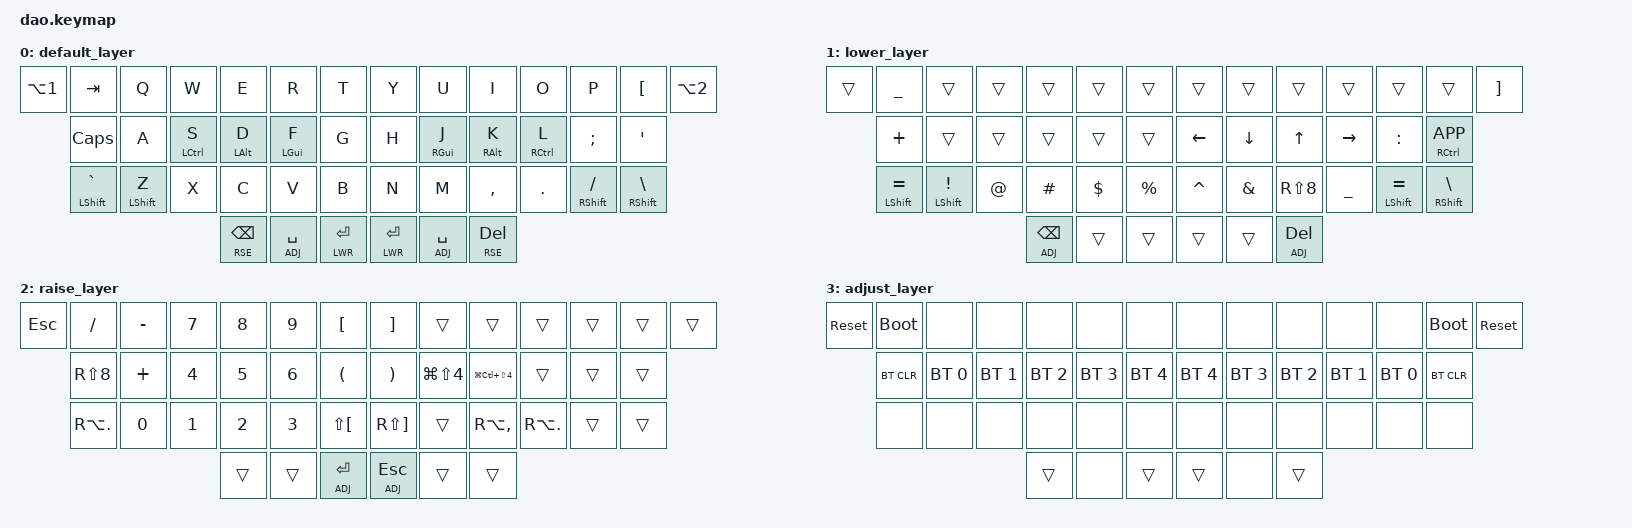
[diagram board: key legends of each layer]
/*
 * Copyright (c) 2021 Rafael Yumagulov
 *
 * SPDX-License-Identifier: MIT
 */

#include <behaviors.dtsi>
#include <dt-bindings/zmk/keys.h>
#include <dt-bindings/zmk/bt.h>

#define DEF 0
#define LWR 1
#define RSE 2
#define ADJ 3

&lt { quick_tap_ms = <200>; };

/ {
        behaviors {
                bhm: balanced_homerow_mods {
                        compatible = "zmk,behavior-hold-tap";
                        label = "HOMEROW_MODS";
                        #binding-cells = <2>;
                        tapping-term-ms = <200>;    // <---[[moderate duration]]
                        quick-tap-ms = <0>;
                        flavor = "balanced";
                        bindings = <&kp>, <&kp>;
                };
        };
        keymap {
                compatible = "zmk,keymap";

                default_layer {
 /*
| ------- | -------         | ----------  | ---------- | ----        | --------      | ---------- | ---------- | ---        | --------      | ---------- | ---------- | ---------      | -------       | ----    |
| ------- | --------------- | ----------- | ---------- | ----------- | ------------- | ---------- | ---------- | ---------- | ------------- | ---------- | ---------- | -------------- | ------------- | ------- |
| kp ESC  | kp TAB          | kp Q        | kp W       | kp E        | kp R          | kp T       | ---------- | kp Y       | kp U          | kp I       | kp O       | kp P           | kp LBKT       | kp RBKT |
|         | kp CAPS         | kp A        | mt LCTRL S | mt LALT D   | mt LGUI F     | kp G       | ---------- | kp H       | mt RGUI J     | mt RALT  K | mt RCTRL L | kp SEMI        | kp SQT        |         |
|         | mt LSHIFT GRAVE | mt LSHIFT Z | kp X       | kp C        | kp V          | kp B       | ---------- | kp N       | kp M          | kp COMMA   | kp DOT     | mt RSHIFT FSLH | mt RSHFT BSLH |         |
|         |                 |             |            | lt RSE BSPC | mt LALT SPACE | lt LWR RET | ---------- | lt LWR RET | mt RALT SPACE | lt RSE DEL |            |                |               |         |
 */
                        bindings = <
   &kp LA(N1)  &kp TAB          &kp Q             &kp W           &kp E        &kp R          &kp T                &kp Y       &kp U           &kp I           &kp O         &kp P              &kp LBKT           &kp LA(N2)
            &kp CAPS         &kp A             &bhm LCTRL S     &bhm LALT D   &bhm LGUI F     &kp G                &kp H       &bhm RGUI J      &bhm RALT  K     &bhm RCTRL L   &kp SEMI           &kp SQT
            &bhm LSHIFT GRAVE &bhm LSHIFT Z      &kp X           &kp C        &kp V          &kp B                &kp N       &kp M           &kp COMMA       &kp DOT       &bhm RSHIFT FSLH    &bhm RSHFT BSLH
                                                               &lt RSE BSPC &lt ADJ SPACE &lt LWR RET          &lt LWR RET &lt ADJ SPACE  &lt RSE DEL
                        >;
                };
                lower_layer {
/*
| ------- | -------         | ----------     | ---------- | ----       | -------- | ---------- | ------------- | -------- | ---------- | ---------- | --------- | -------        | ----           | ----  |
| ------- | --------------- | -------------- | ---------- | ---------- | -------- | ---------- | ------------- | -------- | ---------- | ---------- | --------- | -------------- | -------------- | ----- |
| trans   | kp UNDER        | trans          | trans      | trans      | trans    | trans      | ------------- | trans    | trans      | trans      | trans     | trans          | trans          | trans |
|         | kp PLUS         | trans          | trans      | trans      | trans    | trans      | ------------- | kp LEFT  | kp DOWN    | kp UP      | kp RIGHT  | kp INS         | mt RCTRL K_APP |       |
|         | mt LSHIFT EQUAL | mt LSHIFT EXCL | kp AT      | kp HASH    | kp DLLR  | kp PRCNT   | ------------- | kp CARET | kp AMPS    | kp RS(N8)  | kp LPAR   | mt LSHIFT RPAR | mt RSHFT BSLH  |       |
|         |                 |                |            | lt ADJ TAB | trans    | trans      | ------------- | trans    | trans      | lt ADJ DEL |           |                |                |       |
*/
                        bindings = <
   &trans &kp UNDER        &trans          &trans           &trans      &trans        &trans                    &trans    &trans   &trans           &trans      &trans            &trans         &kp RBKT
          &kp PLUS         &trans          &trans           &trans      &trans        &trans                    &kp LEFT  &kp DOWN &kp UP           &kp RIGHT   &kp COLON           &bhm RCTRL K_APP
          &bhm LSHIFT EQUAL &bhm LSHIFT EXCL &kp AT           &kp HASH    &kp DLLR      &kp PRCNT                 &kp CARET &kp AMPS &kp RS(N8)       &kp UNDER    &bhm LSHIFT EQUAL   &bhm RSHFT BSLH
                                                            &lt ADJ BSPC &trans        &trans                    &trans    &trans   &lt ADJ DEL
                        >;
                };

                raise_layer {
/*
 | ------- | ----    | ---------- | ---------- | ---- | -------- | ----       | ----------------- | ---------- | ---------  | -------   | ----    | ---- | ---- | ---- |
 | ------- | ------- | ---------- | ---------- | ---- | -------- | ---------- | ----------------- | ---------- | ---------- | --------- | ------- | ---- | ---- | ---- |
 | TRNS    | FSLH    | MINUS      | N7         | N8   | N9       | LBKT       | ----------------- | RBKT       | TRNS       | TRNS      | TRNS    | TRNS | TRNS | TRNS |
 |         | RS(N8)  | PLUS       | N4         | N5   | N6       | LPAR       | ----------------- | LG(N4)     | LG(LC(N4)) | TRNS      | TRNS    | TRNS | TRNS |      |
 |         | RA(DOT) | N0         | N1         | N2   | N3       | LS(LBKT)   | ----------------- | RS(RBKT)   | TRNS       | RA(COMMA) | RA(DOT) | TRNS | TRNS |      |
 |         |         |            |            | TRNS | TRNS     | LT ADJ RET | ----------------- | LT ADJ ESC | TRNS       | TRNS      |         |      |      |      |
*/
                        bindings = <
&kp ESC      &kp FSLH       &kp MINUS   &kp N7   &kp N8       &kp N9       &kp LBKT                &kp RBKT     &trans          &trans             &trans       &trans    &trans     &trans
            &kp RS(N8)     &kp PLUS    &kp N4   &kp N5       &kp N6       &kp LPAR                &kp RPAR     &kp LG(LS(N4))  &kp LG(LC(LS(N4))) &trans       &trans    &trans
            &kp RA(DOT)    &kp N0      &kp N1   &kp N2       &kp N3       &kp LS(LBKT)            &kp RS(RBKT) &trans          &kp RA(COMMA)      &kp RA(DOT)  &trans    &trans
                                                &trans       &trans       &lt ADJ RET             &lt ADJ ESC  &trans          &trans
                        >;
                };

                adjust_layer {
/*
| ------- | ----                | ---------- | ---------- | ----       | --------    | ----      | ------------------- | ---------- | --------- | -------     | ----       | ----        | ----      | ---- |
| ------- | ------------------  | ---------- | ---------- | ---------- | ----------- | --------  | ------------------- | ---------- | --------- | -------     | ----       | ----        | -----     | ---- |
| RST     | BLDR                |            |            |            |             |           | ------------------- |            |           |             |            |             | BLDR      | RST  |
|         | BTCLR               | BT0        | BT1        | BT2        | BT3         | BT4       | ------------------- | BT4        | BT3       | BT2         | BT1        | BT0         | BTCLR     |      |
|         |                     |            |            |            |             |           | ------------------- |            |           |             |            |             |           |      |
|         |                     |            |            |            |             |           | ------------------- |            |           |             |            |             |           |      |
*/
                        bindings = <
&sys_reset     &bootloader          &none        &none        &none        &none        &none                               &none        &none        &none        &none        &none         &bootloader &sys_reset
           &bt BT_CLR           &bt BT_SEL 0 &bt BT_SEL 1 &bt BT_SEL 2 &bt BT_SEL 3 &bt BT_SEL 4                        &bt BT_SEL 4 &bt BT_SEL 3 &bt BT_SEL 2 &bt BT_SEL 1 &bt BT_SEL 0  &bt BT_CLR
           &none                &none        &none        &none        &none        &none                               &none        &none        &none        &none        &none         &none
                                                          &trans       &none        &trans                              &trans       &none        &trans
                                 >;
                };
        };
};
